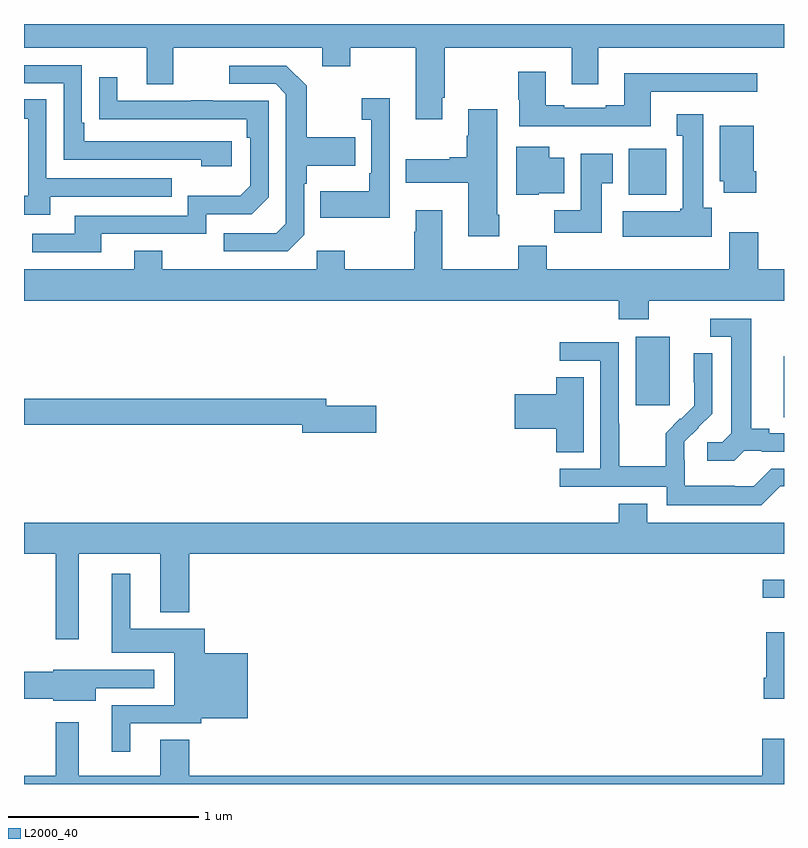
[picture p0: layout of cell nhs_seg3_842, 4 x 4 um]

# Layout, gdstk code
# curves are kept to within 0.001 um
import gdstk
lib = gdstk.Library(unit=1e-6, precision=1e-09)
def R(c, l, rs):  # rectangles x0, y0, x1, y1
    for r in rs: c.add(gdstk.rectangle(r[:2], r[2:], *l))
def P(c, l, *ps):  # polygons
    for p in ps: c.add(gdstk.Polygon(p, *l))
L2000_40 = (2000, 40)

nhs_seg3_842 = lib.new_cell('nhs_seg3_842')
R(nhs_seg3_842, L2000_40, [(158.889,671.379,159,671.476), (158.999,672.331,159,672.651), (158.219,672.393,158.398,672.754), (158.183,673.502,158.38,673.744)])
P(nhs_seg3_842, L2000_40, [(155,674.276),(155.645,674.276),(155.645,674.082),(155.785,674.082),(155.785,674.276),(156.569,674.276),(156.569,674.177),(156.717,674.177),(156.717,674.276),(157.061,674.276),(157.061,673.899),(157.201,673.899),(157.201,674.011),(157.214,674.011),(157.214,674.276),(157.883,674.276),(157.883,674.082),(158.023,674.082),(158.023,674.276),(159,674.276),(159,674.4),(155,674.4)],
  [(156.094,673.782),(155.317,673.782),(155.317,673.879),(155.304,673.879),(155.304,674.184),(155,674.184),(155,674.088),(155.208,674.088),(155.208,673.686),(155.933,673.686),(155.933,673.652),(156.094,673.652)],
  [(156.474,673.29),(156.474,673.559),(156.487,673.559),(156.487,673.655),(156.743,673.655),(156.743,673.803),(156.487,673.803),(156.487,674.075),(156.381,674.181),(156.081,674.181),(156.081,674.085),(156.324,674.085),(156.378,674.031),(156.378,673.35),(156.327,673.299),(156.051,673.299),(156.051,673.203),(156.387,673.203)],
  [(158.299,674.043),(158.86,674.043),(158.86,674.14),(158.159,674.14),(158.159,673.972),(158.063,673.972),(158.063,673.959),(157.843,673.959),(157.843,673.972),(157.747,673.972),(157.747,674.149),(157.6,674.149),(157.6,674.001),(157.607,674.001),(157.607,673.862),(158.299,673.862)],
  [(155.407,673.296),(155.958,673.296),(155.958,673.398),(156.198,673.398),(156.288,673.488),(156.288,673.995),(155.993,673.995),(155.993,674),(155.881,674),(155.881,673.995),(155.491,673.995),(155.491,674.119),(155.395,674.119),(155.395,673.9),(156.172,673.899),(156.172,673.802),(156.192,673.802),(156.192,673.548),(156.139,673.495),(155.862,673.495),(155.862,673.392),(155.267,673.392),(155.267,673.296),(155.043,673.296),(155.043,673.2),(155.407,673.2)],
  [(156.924,673.783),(156.925,673.783),(156.925,674.008),(156.777,674.008),(156.777,673.895),(156.828,673.895),(156.828,673.615),(156.816,673.615),(156.816,673.519),(156.559,673.519),(156.559,673.379),(156.924,673.379)],
  [(155.137,673.491),(155.777,673.491),(155.777,673.587),(155.118,673.587),(155.118,674.003),(155,674.003),(155,673.902),(155.022,673.902),(155.022,673.497),(155,673.497),(155,673.397),(155.137,673.397)],
  [(157.5,673.396),(157.492,673.396),(157.492,673.951),(157.337,673.951),(157.337,673.811),(157.33,673.811),(157.33,673.7),(157.241,673.7),(157.241,673.687),(157.009,673.687),(157.009,673.565),(157.337,673.565),(157.337,673.284),(157.5,673.284)],
  [(158.62,673.434),(158.575,673.434),(158.575,673.924),(158.435,673.924),(158.435,673.811),(158.468,673.811),(158.468,673.428),(158.455,673.428),(158.455,673.414),(158.151,673.414),(158.151,673.28),(158.62,673.28)],
  [(158.855,673.624),(158.842,673.624),(158.842,673.864),(158.663,673.864),(158.663,673.572),(158.684,673.572),(158.684,673.512),(158.855,673.512)],
  [(157.71,673.508),(157.843,673.508),(157.843,673.696),(157.765,673.696),(157.765,673.753),(157.592,673.753),(157.592,673.502),(157.71,673.502)],
  [(158.041,673.561),(158.098,673.561),(158.098,673.717),(157.931,673.717),(157.931,673.42),(157.792,673.42),(157.792,673.302),(158.041,673.302)],
  [(158.289,672.944),(159,672.944),(159,673.108),(158.864,673.108),(158.864,673.303),(158.711,673.303),(158.711,673.108),(157.751,673.108),(157.751,673.232),(157.6,673.232),(157.6,673.108),(157.201,673.108),(157.201,673.42),(157.061,673.42),(157.061,673.307),(157.054,673.307),(157.054,673.108),(156.687,673.108),(156.687,673.207),(156.54,673.207),(156.54,673.108),(155.727,673.108),(155.727,673.207),(155.579,673.207),(155.579,673.108),(155,673.108),(155,672.944),(158.129,672.944),(158.129,672.845),(158.289,672.845)],
  [(158.79,672.153),(158.884,672.153),(158.884,672.15),(159,672.15),(159,672.246),(158.923,672.246),(158.923,672.269),(158.827,672.269),(158.827,672.849),(158.613,672.849),(158.613,672.753),(158.723,672.753),(158.723,672.245),(158.676,672.198),(158.595,672.198),(158.595,672.101),(158.738,672.101)],
  [(158.979,671.967),(159,671.967),(159,672.06),(158.934,672.06),(158.841,671.967),(158.741,671.967),(158.741,671.971),(158.478,671.971),(158.478,672.105),(158.476,672.105),(158.476,672.202),(158.622,672.35),(158.622,672.668),(158.526,672.668),(158.526,672.514),(158.528,672.514),(158.528,672.392),(158.457,672.321),(158.454,672.324),(158.377,672.247),(158.377,672.073),(158.133,672.073),(158.133,672.296),(158.13,672.296),(158.13,672.726),(157.821,672.726),(157.821,672.627),(158.034,672.627),(158.034,672.06),(157.821,672.06),(157.821,671.964),(158.382,671.964),(158.382,671.867),(158.879,671.867)],
  [(157.945,672.542),(157.802,672.542),(157.802,672.452),(157.584,672.452),(157.584,672.269),(157.802,672.269),(157.802,672.145),(157.945,672.145)],
  [(156.853,672.392),(156.592,672.392),(156.592,672.428),(155,672.428),(155,672.292),(156.464,672.292),(156.464,672.25),(156.853,672.25)],
  [(155.287,671.612),(155.717,671.612),(155.717,671.303),(155.87,671.303),(155.87,671.612),(159,671.612),(159,671.776),(158.281,671.776),(158.281,671.875),(158.129,671.875),(158.129,671.776),(155,671.776),(155,671.612),(155.166,671.612),(155.166,671.163),(155.287,671.163)],
  [(155.56,670.719),(155.934,670.719),(155.934,670.745),(156.178,670.745),(156.178,671.089),(155.951,671.089),(155.951,671.218),(155.56,671.218),(155.56,671.506),(155.462,671.506),(155.462,671.09),(155.792,671.09),(155.792,670.815),(155.462,670.815),(155.462,670.569),(155.56,670.569)],
  [(159,671.2),(158.906,671.2),(158.906,670.96),(158.894,670.96),(158.894,670.848),(159,670.848)],
  [(155.377,670.905),(155.686,670.905),(155.686,671.001),(155.373,671.001),(155.373,671.002),(155.154,671.002),(155.154,670.991),(155,670.991),(155,670.849),(155.154,670.849),(155.154,670.838),(155.377,670.838)],
  [(159,670.639),(158.885,670.639),(158.885,670.444),(155.87,670.444),(155.87,670.634),(155.717,670.634),(155.717,670.444),(155.287,670.444),(155.287,670.726),(155.166,670.726),(155.166,670.444),(155,670.444),(155,670.4),(159,670.4)])

lib.write_gds('nhs_seg3_842.gds')
